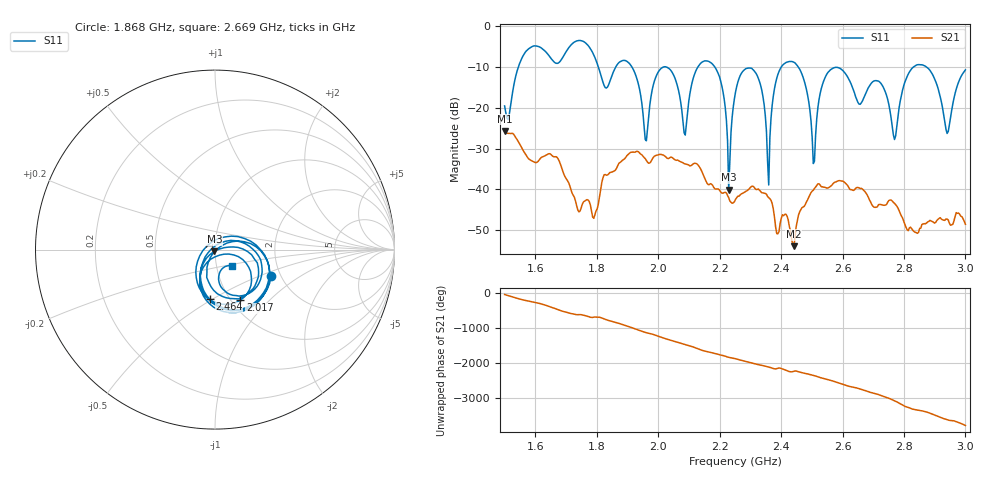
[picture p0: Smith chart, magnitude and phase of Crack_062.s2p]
# HZ S RI R 50
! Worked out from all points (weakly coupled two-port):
!   404 points, 1.5 GHz to 3 GHz, reference 50 ohm
!   highest |S21| = -25.69 dB at 1.5 GHz (marker M1); lowest = -53.9 dB at 2.442 GHz (marker M2)
!   lowest |S11| = -40.0 dB at 2.23 GHz (marker M3), VSWR 1.02, Z = 49.6 - j0.927 ohm
!   |S11| at or under -10 dB: 2.184 GHz to 2.401 GHz (217 MHz wide, 9.46 % of centre); 2.456 GHz to 2.831 GHz (375.8 MHz wide, 14.2 % of centre); 2.873 GHz to end of sweep (the widest 3 of 7)
!   S12 and S22 are empty: the file has one direction only
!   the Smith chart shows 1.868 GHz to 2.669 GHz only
!   S11 on the Smith chart (normalised r, x): 1.868 GHz: 1.79, -0.59; 2.017 GHz: 1.10, -0.69; 2.464 GHz: 0.81, -0.49; 2.669 GHz: 1.19, -0.22
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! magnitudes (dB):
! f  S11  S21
! 1.5 GHz  -19.6  -25.7
! 1.753 GHz  -3.7  -43.6
! 1.868 GHz  -9.3  -34.1
! 1.962 GHz  -28.1  -32.9
! 2.002 GHz  -11.0  -31.4
! 2.017 GHz  -10.0  -31.6
! 2.088 GHz  -26.7  -33.7
! 2.181 GHz  -9.7  -39.5
! 2.23 GHz  -40.0  -42.0
! 2.252 GHz  -16.1  -42.4
! 2.319 GHz  -11.6  -40.0
! 2.36 GHz  -38.9  -42.0
! 2.39 GHz  -11.8  -50.8
! 2.442 GHz  -8.9  -53.9
! 2.464 GHz  -11.1  -45.0
! 2.501 GHz  -27.3  -40.4
! 2.561 GHz  -10.7  -39.2
! 2.669 GHz  -17.7  -40.2
! 2.751 GHz  -19.1  -42.7
! 2.862 GHz  -9.6  -48.4
! 2.94 GHz  -26.3  -47.2
! 3 GHz  -10.7  -48.5
